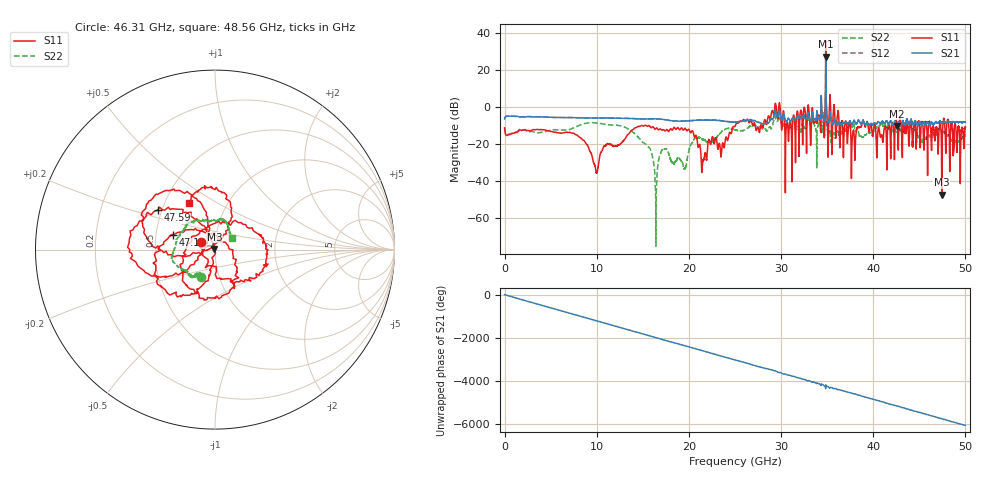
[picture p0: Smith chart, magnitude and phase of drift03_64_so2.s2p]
!Created with skrf (http://scikit-rf.org).
# Hz S RI R 50.0
!freq ReS11 ImS11 ReS21 ImS21 ReS12 ImS12 ReS22 ImS22
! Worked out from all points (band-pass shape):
!   10001 points, 300 kHz to 50 GHz, reference 50 ohm
!   highest |S21| = 27.11 dB at 34.85 GHz (marker M1); lowest = -10.4 dB at 42.56 GHz (marker M2)
!   |S21| within 3 dB of the highest: 34.84332 GHz to 34.846 GHz (2.682 MHz wide, 0.0077 % of centre)
!   lowest |S11| = -47.5 dB at 47.44 GHz (marker M3), VSWR 1.01, Z = 49.7 + j0.298 ohm
!   |S11| at or under -10 dB: start of sweep to 15.23 GHz; 15.31 GHz to 25.05 GHz (9.739 GHz wide, 48.3 % of centre); 40.22 GHz to 41.61 GHz (1.391 GHz wide, 3.4 % of centre) (the widest 3 of 55)
!   |S22| runs from -75.2 to 18.4 dB; largest |S21 - S12| = 3.5
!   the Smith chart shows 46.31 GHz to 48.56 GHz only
!   S11 on the Smith chart (normalised r, x): 46.31 GHz: 0.86, +0.08; 47.15 GHz: 0.61, +0.10; 47.59 GHz: 0.47, +0.25; 48.56 GHz: 0.67, +0.38
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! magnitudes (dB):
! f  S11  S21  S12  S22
! 300 kHz  -11.4  -6.5  -6.5  -11.3
! 8.335 GHz  -17.1  -6.0  -6.0  -9.6
! 9.955 GHz  -35.7  -6.1  -6.1  -8.7
! 11 GHz  -20.8  -6.0  -6.0  -9.5
! 16.67 GHz  -12.4  -6.6  -6.5  -30.0
! 17.35 GHz  -12.8  -7.0  -6.9  -22.9
! 19.55 GHz  -11.7  -7.7  -7.7  -33.5
! 20.22 GHz  -13.9  -7.4  -7.5  -20.4
! 21.55 GHz  -28.7  -7.2  -7.2  -17.7
! 25 GHz  -10.6  -8.2  -8.2  -12.5
! 33.34 GHz  -3.8  -6.8  -6.7  -9.3
! 34.85 GHz  35.8  27.1  27.0  18.4
! 37.83 GHz  -12.8  -8.2  -8.3  -9.8
! 38.82 GHz  -8.3  -8.0  -8.1  -16.2
! 41.67 GHz  -9.2  -9.4  -9.4  -11.7
! 42.56 GHz  -8.3  -10.4  -10.5  -13.6
! 46.31 GHz  -21.1  -8.5  -8.5  -15.4
! 47.15 GHz  -12.1  -8.1  -8.2  -12.2
! 47.44 GHz  -47.5  -8.5  -8.5  -13.6
! 47.59 GHz  -8.2  -8.2  -8.2  -13.8
! 48.56 GHz  -10.6  -8.1  -8.2  -18.7
! 50 GHz  -10.9  -8.3  -8.3  -15.6
